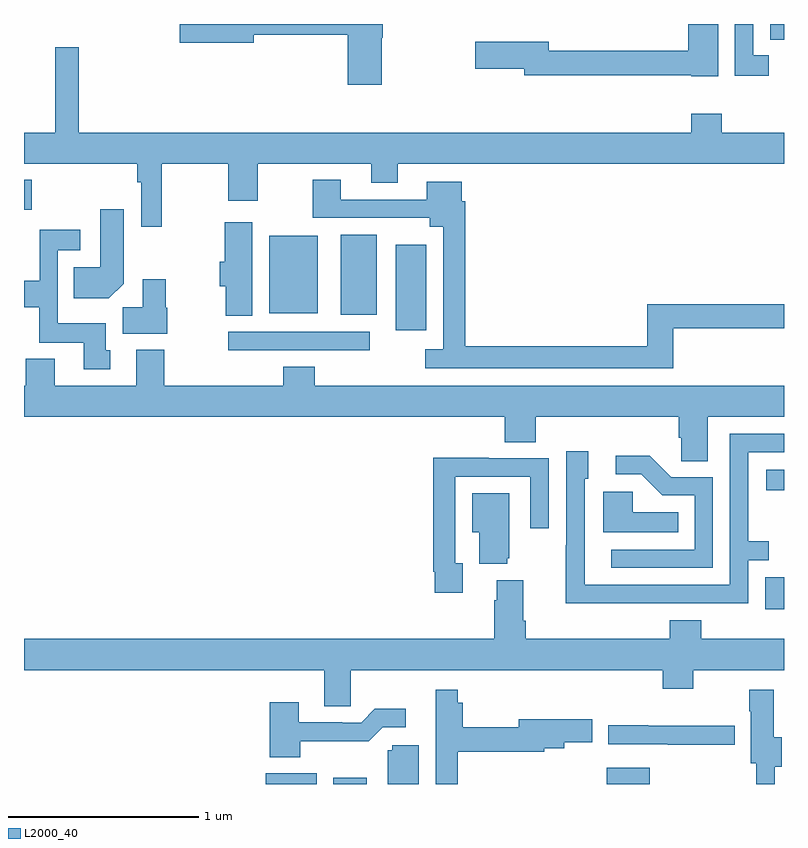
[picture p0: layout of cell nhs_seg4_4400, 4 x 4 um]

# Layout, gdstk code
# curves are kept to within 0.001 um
import gdstk
lib = gdstk.Library(unit=1e-6, precision=1e-09)
def R(c, l, rs):  # rectangles x0, y0, x1, y1
    for r in rs: c.add(gdstk.rectangle(r[:2], r[2:], *l))
def P(c, l, *ps):  # polygons
    for p in ps: c.add(gdstk.Polygon(p, *l))
L2000_40 = (2000, 40)

nhs_seg4_4400 = lib.new_cell('nhs_seg4_4400')
R(nhs_seg4_4400, L2000_40, [(348.272,782.9,348.542,782.956), (348.627,782.9,348.805,782.932), (350.066,782.9,350.293,782.986), (350.901,783.819,351,783.987), (350.907,784.445,351,784.555), (348.075,785.184,348.82,785.28), (348.956,785.289,349.117,785.737), (348.668,785.369,348.856,785.791), (348.29,785.378,348.547,785.785), (347,785.923,347.04,786.079), (350.927,786.816,351,786.9)])
P(nhs_seg4_4400, L2000_40, [(350.653,786.9),(350.495,786.9),(350.495,786.758),(349.762,786.758),(349.762,786.806),(349.374,786.806),(349.374,786.664),(349.634,786.664),(349.634,786.63),(350.511,786.63),(350.511,786.626),(350.653,786.626)],
  [(348.882,786.827),(348.887,786.827),(348.887,786.9),(347.82,786.9),(347.82,786.802),(348.208,786.802),(348.208,786.844),(348.704,786.844),(348.704,786.579),(348.882,786.579)],
  [(350.92,786.735),(350.838,786.735),(350.838,786.9),(350.742,786.9),(350.742,786.627),(350.92,786.627)],
  [(347.725,786.164),(348.076,786.164),(348.076,785.97),(348.231,785.97),(348.231,786.164),(348.827,786.164),(348.827,786.065),(348.967,786.065),(348.967,786.164),(351,786.164),(351,786.328),(350.673,786.328),(350.673,786.427),(350.513,786.427),(350.513,786.328),(347.287,786.328),(347.287,786.778),(347.165,786.778),(347.165,786.328),(347,786.328),(347,786.164),(347.596,786.164),(347.596,786.068),(347.616,786.068),(347.616,785.832),(347.725,785.832)],
  [(350.417,785.298),(351,785.298),(351,785.426),(350.281,785.426),(350.281,785.204),(349.322,785.204),(349.322,785.966),(349.303,785.966),(349.303,786.07),(349.121,786.07),(349.121,785.976),(348.667,785.976),(348.667,786.079),(348.52,786.079),(348.52,785.88),(349.136,785.88),(349.136,785.834),(349.206,785.834),(349.206,785.188),(349.113,785.188),(349.113,785.088),(350.417,785.088)],
  [(347.524,785.534),(347.524,785.926),(347.402,785.926),(347.402,785.62),(347.263,785.62),(347.263,785.456),(347.446,785.456)],
  [(348.202,785.857),(348.056,785.857),(348.056,785.649),(348.029,785.649),(348.029,785.519),(348.061,785.519),(348.061,785.365),(348.202,785.365)],
  [(347.455,785.184),(347.431,785.184),(347.431,785.326),(347.178,785.326),(347.178,785.709),(347.296,785.709),(347.296,785.818),(347.082,785.818),(347.082,785.548),(347,785.548),(347,785.408),(347.08,785.408),(347.08,785.222),(347.315,785.222),(347.315,785.082),(347.455,785.082)],
  [(347.754,785.406),(347.746,785.406),(347.746,785.557),(347.624,785.557),(347.624,785.408),(347.519,785.408),(347.519,785.27),(347.754,785.27)],
  [(350.599,784.832),(351,784.832),(351,784.996),(348.53,784.996),(348.53,785.095),(348.365,785.095),(348.365,784.996),(347.739,784.996),(347.739,785.185),(347.591,785.185),(347.591,784.996),(347.161,784.996),(347.161,785.137),(347.009,785.137),(347.009,784.996),(347,784.996),(347,784.832),(349.529,784.832),(349.529,784.699),(349.694,784.699),(349.694,784.832),(350.447,784.832),(350.447,784.723),(350.46,784.723),(350.46,784.6),(350.599,784.6)],
  [(350.315,783.852),(350.811,783.852),(350.811,784.077),(350.921,784.077),(350.921,784.178),(350.811,784.178),(350.811,784.647),(351,784.647),(351,784.743),(350.715,784.743),(350.715,783.948),(349.951,783.948),(349.951,784.202),(349.95,784.202),(349.95,784.506),(349.969,784.506),(349.969,784.651),(349.854,784.651),(349.854,784.157),(349.852,784.157),(349.852,783.851),(350.315,783.851)],
  [(350.625,784.515),(350.406,784.515),(350.293,784.628),(350.115,784.628),(350.115,784.53),(350.249,784.53),(350.36,784.419),(350.529,784.419),(350.529,784.134),(350.091,784.134),(350.091,784.038),(350.625,784.038)],
  [(349.309,784.062),(349.269,784.062),(349.269,784.518),(349.665,784.518),(349.665,784.245),(349.761,784.245),(349.761,784.614),(349.445,784.614),(349.445,784.616),(349.153,784.616),(349.153,784.018),(349.161,784.018),(349.161,783.906),(349.309,783.906)],
  [(350.444,784.33),(350.205,784.33),(350.205,784.438),(350.048,784.438),(350.048,784.226),(350.444,784.226)],
  [(349.544,784.089),(349.555,784.089),(349.555,784.429),(349.358,784.429),(349.358,784.226),(349.397,784.226),(349.397,784.058),(349.544,784.058)],
  [(348.72,783.5),(350.363,783.5),(350.363,783.401),(350.523,783.401),(350.523,783.5),(351,783.5),(351,783.664),(350.564,783.664),(350.564,783.763),(350.399,783.763),(350.399,783.664),(349.64,783.664),(349.64,783.76),(349.627,783.76),(349.627,783.973),(349.487,783.973),(349.487,783.866),(349.475,783.866),(349.475,783.664),(347,783.664),(347,783.5),(348.581,783.5),(348.581,783.31),(348.72,783.31)],
  [(350.952,782.992),(350.989,782.992),(350.989,783.147),(350.947,783.147),(350.947,783.397),(350.818,783.397),(350.818,783.284),(350.825,783.284),(350.825,783.008),(350.854,783.008),(350.854,782.9),(350.952,782.9)],
  [(349.283,783.07),(349.739,783.07),(349.739,783.089),(349.843,783.089),(349.843,783.119),(349.99,783.119),(349.99,783.241),(349.604,783.241),(349.604,783.199),(349.308,783.199),(349.308,783.328),(349.283,783.328),(349.283,783.397),(349.167,783.397),(349.167,782.9),(349.283,782.9)],
  [(348.453,783.126),(348.815,783.125),(348.888,783.198),(349.009,783.198),(349.009,783.295),(348.847,783.295),(348.774,783.222),(348.674,783.222),(348.674,783.225),(348.445,783.225),(348.445,783.331),(348.293,783.331),(348.293,783.041),(348.453,783.041)],
  [(350.74,783.206),(350.285,783.206),(350.285,783.209),(350.075,783.209),(350.075,783.108),(350.389,783.108),(350.389,783.106),(350.74,783.106)],
  [(349.078,783.105),(348.939,783.105),(348.939,783.078),(348.914,783.078),(348.914,782.9),(349.078,782.9)])

lib.write_gds('nhs_seg4_4400.gds')
